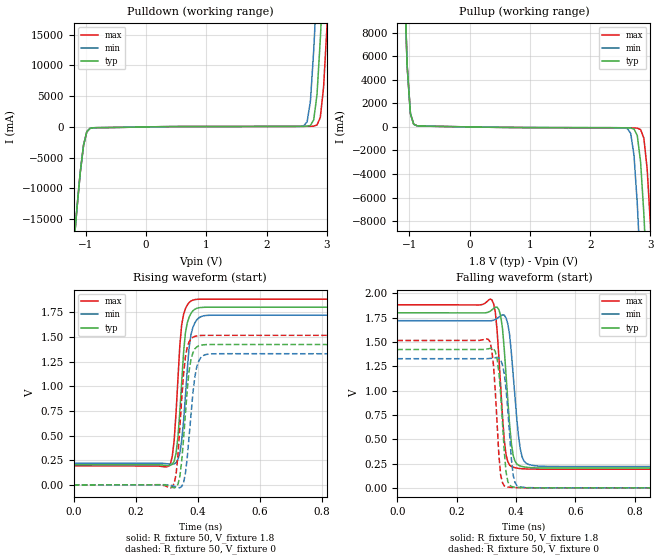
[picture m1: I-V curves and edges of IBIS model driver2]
| IBIS file inv_chain_100ps.ibs created by PYS2IBIS3
| Missouri S&T EMC Lab
[IBIS Ver] 7.1
[File Name] inv_chain_100ps.ibs
[File Rev] 1.0
[Date] Jul 27, 2026
[Source] Eight-stage inv_chain transistor model characterized with s2ibispy
[Notes] Edge-rate sweep; tr=tf=100ps. All other settings match
 inv_chain_fast_5ps.
[Component] invchain
[Manufacturer] s2ibispy study
[Package]
| variable   typ   min   max
R_pkg 0 NA NA
L_pkg 0H NA NA
C_pkg 0F NA NA
[Pin]  signal_name   model_name   R_pin   L_pin   C_pin
VSSQ   VSSQ   Gnd
VCCQ   VCCQ   Power
| IN IN dummy
PAD   PAD   driver2
| End of Component
| Models and submodels in the file (1): driver2 (Output)
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[Model] driver2
Model_type Output
Polarity Non-Inverting
Enable Active-High
Vinl  = 0.8V
Vinh  = 2V
C_comp 0.4680pF NA NA
[Temperature Range] 27.0000 27.0000 27.0000
[Voltage Range] 1.8000V 1.7000V 1.9000V
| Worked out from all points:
|   slope of the pulldown table from 0 to 0.27 V, typ, clamps not added: 6.79 ohm
|   slope of the pullup table from 0 to 0.27 V, typ, clamps not added: 12.6 ohm
|   rising waveform, R_fixture 50, V_fixture 1.8: 20-80 % time 21.4ps typ, 23.1ps min, 20.3ps max; typ from 0.204 V to 1.8 V
|   rising waveform, R_fixture 50, V_fixture 0: 20-80 % time 22.2ps typ, 23.6ps min, 21.2ps max; typ from 0 V to 1.42 V
|   falling waveform, R_fixture 50, V_fixture 1.8: 20-80 % time 23.4ps typ, 25.7ps min, 21.6ps max; typ from 1.8 V to 0.204 V
|   falling waveform, R_fixture 50, V_fixture 0: 20-80 % time 19.4ps typ, 20.9ps min, 18ps max; typ from 1.42 V to 0 V
[Pulldown]
| Voltage   I(typ)   I(min)   I(max)
-1.8V     -87.88A    -87.88A    -87.88A
-1.2V     -19.4A     -19.4A     -19.4A
-1.036V   -2.952A    -2.948A    -2.955A
-927.3mV  -221.8mA   -216.4mA   -227mA
2.618V    95.77mA    193.1mA    97.15mA
2.727V    244.8mA    4.224A     106.4mA
2.782V    1.151A     12.49A     132.5mA
2.836V    5.27A      23.04A     313.7mA
2.891V    14.25A     33.59A     1.533A
2.946V    24.81A     44.15A     6.464A
3V        35.36A     54.71A     16.02A
3.6V      151.5A     170.8A     132.1A
[Pullup]
| Voltage   I(typ)   I(min)   I(max)
-1.8V     151.4A     151.4A     151.4A
-1.091V   14.2A      14.19A     14.2A
-981.8mV  1.13A      1.129A     1.132A
-872.7mV  99.18mA    97.54mA    100.6mA
2.618V    -78.19mA   -142.5mA   -79.21mA
2.727V    -177.2mA   -2.408A    -86.52mA
2.782V    -728.3mA   -6.523A    -104.6mA
2.836V    -2.952A    -12.18A    -222.3mA
2.891V    -7.391A    -18.4A     -950.7mA
2.946V    -13.22A    -24.62A    -3.561A
3V        -19.44A    -30.85A    -8.297A
3.6V      -87.92A    -99.33A    -76.52A
[Ramp]
| variable   typ   min   max
dV/dt_r 0.8532/0.02165n 0.7968/0.02332n 0.9090/0.02052n
dV/dt_f 0.9575/0.02291n 0.8972/0.02469n 1.0171/0.02136n
R_load = 50
[Rising Waveform]
R_fixture = 50
V_fixture = 1.8
|time   V(typ)   V(min)   V(max)
0s        204.2mV    219.5mV    192.2mV
306.3ps   195.3mV    211.8mV    189.8mV
318.3ps   208.1mV    210.2mV    294.3mV
330.3ps   322.1mV    224mV      733.9mV
342.3ps   734.9mV    319.6mV    1.409V
348.3ps   1.043V     446.9mV    1.619V
360.4ps   1.539V     896.2mV    1.785V
372.4ps   1.7V       1.392V     1.848V
396.4ps   1.788V     1.669V     1.879V
6ns       1.8V       1.719V     1.882V
[Rising Waveform]
R_fixture = 50
V_fixture = 0
|time   V(typ)   V(min)   V(max)
0s        13.08nV    12.76nV    13.48nV
318.3ps   -25.23mV   -7.253mV   -21.23mV
330.3ps   -22.99mV   -21.41mV   105.5mV
342.3ps   82.79mV    -29.38mV   575.3mV
360.4ps   724.7mV    116.9mV    1.297V
378.4ps   1.27V      717.6mV    1.48V
390.4ps   1.376V     1.084V     1.504V
402.4ps   1.407V     1.246V     1.512V
468.5ps   1.422V     1.329V     1.515V
6ns       1.422V     1.328V     1.515V
[Falling Waveform]
R_fixture = 50
V_fixture = 1.8
|time   V(typ)   V(min)   V(max)
0s        1.8V       1.719V     1.882V
318.3ps   1.829V     1.719V     1.934V
330.3ps   1.857V     1.73V      1.806V
348.3ps   1.768V     1.77V      1.034V
366.4ps   1.162V     1.746V     338.2mV
378.4ps   650mV      1.575V     233.9mV
390.4ps   334.7mV    1.162V     212.3mV
414.4ps   224.9mV    399.5mV    197.9mV
510.5ps   204.2mV    220.1mV    192.1mV
6ns       204.2mV    219.5mV    192.2mV
[Falling Waveform]
R_fixture = 50
V_fixture = 0
|time   V(typ)   V(min)   V(max)
0s        1.422V     1.328V     1.515V
306.3ps   1.43V      1.329V     1.527V
324.3ps   1.43V      1.335V     1.255V
336.3ps   1.329V     1.341V     658.3mV
348.3ps   962.1mV    1.316V     132.3mV
366.4ps   163.9mV    1.017V     11.98mV
384.4ps   14.62mV    298.4mV    4.927mV
402.4ps   5.333mV    25.83mV    1.953mV
462.5ps   212.5uV    885.9uV    38.25uV
6ns       13.31nV    12.76nV    13.48nV
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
